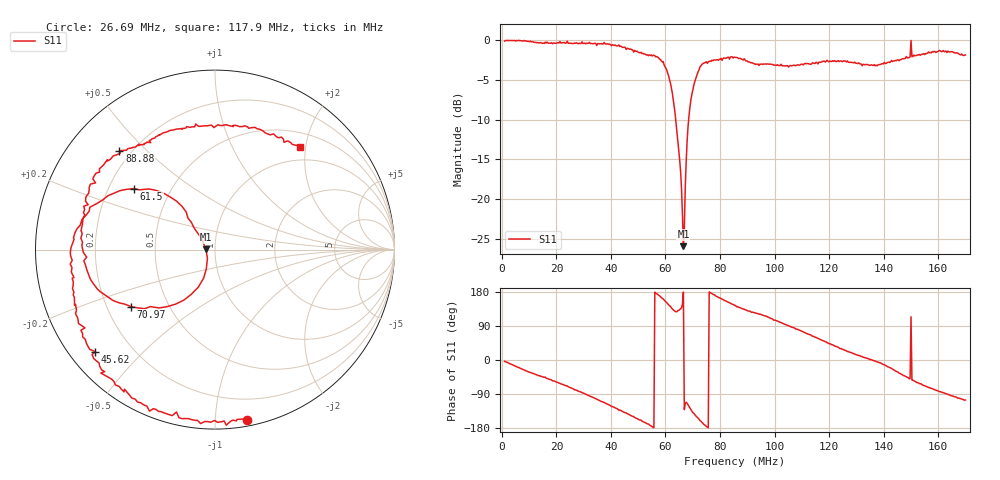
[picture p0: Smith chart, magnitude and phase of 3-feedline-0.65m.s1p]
! Touchstone file generated by AntScopeKit
# MHz S RI R 50
! Format: Frequency S-real S-imaginary (normalized to 50 Ohm)
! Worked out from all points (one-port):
!   501 points, 1 MHz to 170 MHz, reference 50 ohm
!   lowest |S11| = -26.0 dB at 66.57 MHz (marker M1), VSWR 1.11, Z = 45.2 + j0.0571 ohm
!   |S11| at or under -10 dB: 63.76 MHz to 68.5 MHz (4.742 MHz wide, 7.17 % of centre)
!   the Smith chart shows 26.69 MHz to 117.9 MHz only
!   S11 on the Smith chart (normalised r, x): 26.69 MHz: 0.05, -1.21; 45.62 MHz: 0.07, -0.37; 61.5 MHz: 0.31, +0.31; 70.97 MHz: 0.30, -0.28; 88.88 MHz: 0.16, +0.42; 117.9 MHz: 0.75, +1.89
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1  0.9888 -0.0629
10.126  0.8325 -0.5227
22.294  0.4201 -0.8709
26.688  0.1805 -0.9467
36.828  -0.3281 -0.8909
43.25  -0.6146 -0.6798
45.616  -0.6673 -0.5688
56.432  -0.7848 0.0584
61.502  -0.4498 0.3403
64.544  -0.1502 0.1746
66.572  -0.0503 0.000629
68.6  -0.1738 -0.2816
70.966  -0.4675 -0.3176
73.332  -0.6782 -0.1895
76.374  -0.7417 0.0236
85.5  -0.6339 0.4596
88.88  -0.5326 0.5513
106.794  0.0502 0.6939
117.948  0.4718 0.5699
127.75  0.6818 0.2526
142.284  0.6813 -0.2501
149.044  0.5299 -0.567
149.382  0.5085 -0.594
150.734  0.4736 -0.6357
151.072  0.4686 -0.659
154.79  0.3226 -0.7606
161.212  0.0773 -0.8466
170  -0.2187 -0.7795
